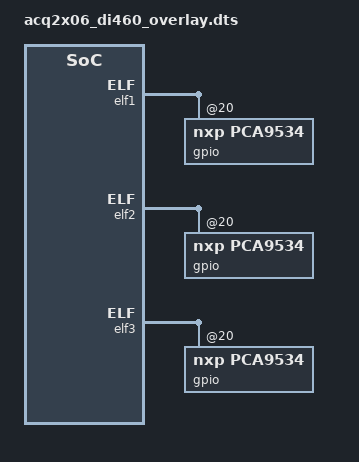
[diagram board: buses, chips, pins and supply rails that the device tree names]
/dts-v1/;
/plugin/;	/* allow undefined label references and record them */
/ {
	fragment@0 {
		target = <&elf1>;
		__overlay__ {
			#address-cells = <1>;
			#size-cells = <0>;
			gpio@elf1 {
				compatible="nxp,pca9534";
				reg=<0x20>;				
			};
		};
	};

	fragment@1 {
		target = <&elf2>;
		__overlay__ {
			#address-cells = <1>;
			#size-cells = <0>;
			gpio@elf2 {
				compatible="nxp,pca9534";
				reg=<0x20>;				
			};			
		};
	};

	fragment@2 {
		target = <&elf3>;
		__overlay__ {
			#address-cells = <1>;
			#size-cells = <0>;
			gpio@elf3 {
				compatible="nxp,pca9534";
				reg=<0x20>;				
			};			
		};
	};	
};
